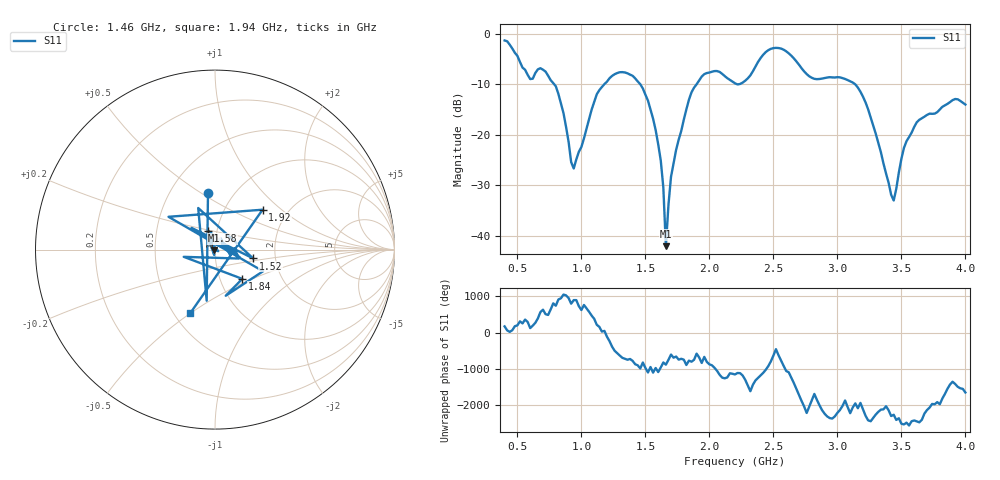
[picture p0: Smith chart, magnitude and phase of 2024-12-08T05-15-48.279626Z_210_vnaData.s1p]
!Created with skrf (http://scikit-rf.org).
# Hz S RI R 50.0
!freq ReS11 ImS11
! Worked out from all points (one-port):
!   181 points, 400 MHz to 4 GHz, reference 50 ohm
!   lowest |S11| = -42.0 dB at 1.66 GHz (marker M1), VSWR 1.02, Z = 49.3 - j0.295 ohm
!   |S11| at or under -10 dB: 788.3 MHz to 1.178 GHz (389.3 MHz wide, 39.6 % of centre); 1.461 GHz to 1.899 GHz (438.2 MHz wide, 26.1 % of centre); 3.14 GHz to end of sweep (the widest 3 of 4)
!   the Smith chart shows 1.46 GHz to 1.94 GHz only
!   S11 on the Smith chart (normalised r, x): 1.46 GHz: 0.76, +0.53; 1.52 GHz: 1.53, -0.16; 1.58 GHz: 0.91, +0.19; 1.84 GHz: 1.27, -0.44; 1.92 GHz: 1.49, +0.75; 1.94 GHz: 0.60, -0.50
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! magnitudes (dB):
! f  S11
! 400 MHz  -1.3
! 600 MHz  -8.9
! 720 MHz  -7.5
! 860 MHz  -15.7
! 940 MHz  -26.6
! 1.12 GHz  -12.0
! 1.3 GHz  -7.6
! 1.46 GHz  -10.0
! 1.52 GHz  -13.2
! 1.58 GHz  -19.0
! 1.64 GHz  -30.4
! 1.66 GHz  -42.0
! 1.7 GHz  -28.3
! 1.76 GHz  -20.9
! 1.84 GHz  -13.0
! 1.92 GHz  -9.2
! 1.94 GHz  -8.4
! 2.2 GHz  -9.8
! 2.48 GHz  -3.0
! 2.66 GHz  -4.8
! 2.82 GHz  -8.9
! 3.1 GHz  -9.4
! 3.24 GHz  -14.9
! 3.44 GHz  -33.0
! 3.52 GHz  -22.6
! 3.56 GHz  -20.4
! 3.9 GHz  -13.1
! 4 GHz  -14.0
